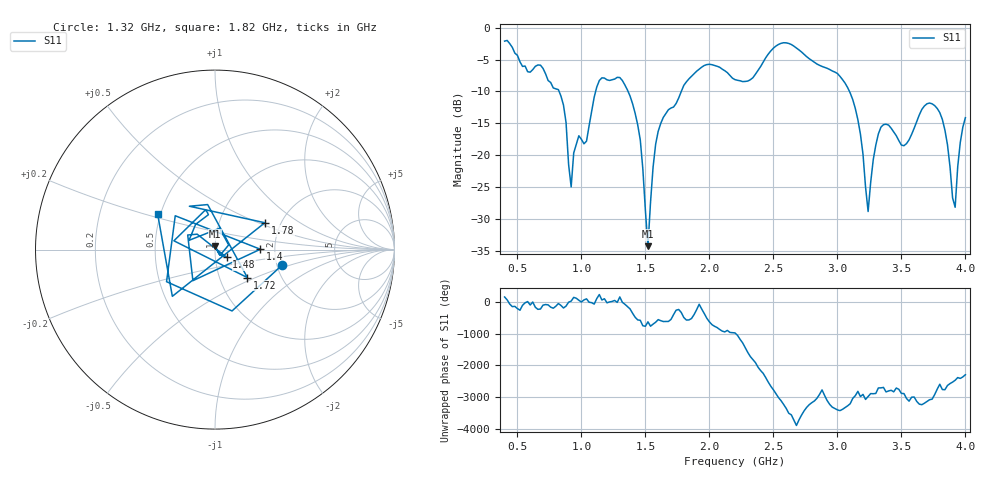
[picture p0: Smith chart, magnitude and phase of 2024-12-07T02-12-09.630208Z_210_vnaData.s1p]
!Created with skrf (http://scikit-rf.org).
# Hz S RI R 50.0
!freq ReS11 ImS11
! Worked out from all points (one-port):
!   181 points, 400 MHz to 4 GHz, reference 50 ohm
!   lowest |S11| = -34.3 dB at 1.52 GHz (marker M1), VSWR 1.04, Z = 49.9 + j1.92 ohm
!   |S11| at or under -10 dB: 825.6 MHz to 1.111 GHz (285.7 MHz wide, 29.5 % of centre); 1.364 GHz to 1.78 GHz (416.1 MHz wide, 26.5 % of centre); 3.094 GHz to end of sweep
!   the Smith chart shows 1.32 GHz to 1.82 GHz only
!   S11 on the Smith chart (normalised r, x): 1.32 GHz: 2.14, -0.43; 1.4 GHz: 1.68, +0.01; 1.48 GHz: 1.13, -0.10; 1.72 GHz: 1.36, -0.45; 1.78 GHz: 1.65, +0.55; 1.82 GHz: 0.48, +0.22
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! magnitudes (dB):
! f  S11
! 400 MHz  -2.1
! 860 MHz  -12.1
! 920 MHz  -25.0
! 940 MHz  -19.7
! 1.04 GHz  -17.8
! 1.14 GHz  -8.3
! 1.3 GHz  -7.8
! 1.32 GHz  -8.3
! 1.4 GHz  -11.9
! 1.48 GHz  -22.2
! 1.52 GHz  -34.3
! 1.58 GHz  -18.3
! 1.72 GHz  -12.5
! 1.76 GHz  -11.0
! 1.78 GHz  -10.0
! 1.82 GHz  -8.5
! 2.2 GHz  -8.1
! 2.66 GHz  -2.9
! 3.1 GHz  -10.2
! 3.18 GHz  -16.7
! 3.24 GHz  -28.9
! 3.34 GHz  -15.6
! 3.56 GHz  -17.6
! 3.78 GHz  -12.7
! 3.84 GHz  -16.1
! 3.92 GHz  -28.2
! 3.96 GHz  -18.0
! 4 GHz  -14.1
